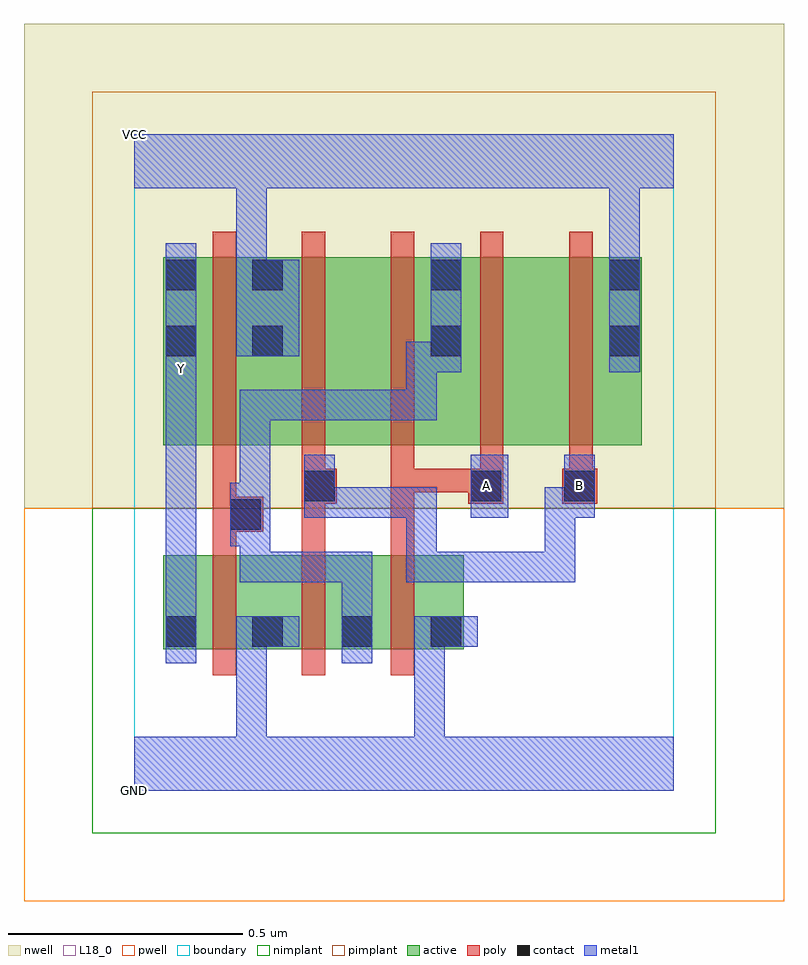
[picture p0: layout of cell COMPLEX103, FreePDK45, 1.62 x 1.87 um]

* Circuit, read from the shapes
.subckt COMPLEX103 A B GND VCC Y
M1 GND n1 Y VSUBS nfet w=0.2u l=0.05u
M2 n1 B GND VSUBS nfet w=0.2u l=0.05u
M3 GND A n1 VSUBS nfet w=0.2u l=0.05u
M4 VCC n1 Y n2 pfet w=0.4u l=0.05u
M5 n3 B VCC n2 pfet w=0.4u l=0.05u
M6 n1 A n3 n2 pfet w=0.4u l=0.05u
M7 n4 A n1 n2 pfet w=0.4u l=0.05u
M8 VCC B n4 n2 pfet w=0.4u l=0.05u
.ends

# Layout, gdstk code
import gdstk
lib = gdstk.Library(unit=1e-6, precision=1e-09)
def R(c, l, rs):  # rectangles x0, y0, x1, y1
    for r in rs: c.add(gdstk.rectangle(r[:2], r[2:], *l))
def A(c, l, x, y, w, h, nx, ny, dx, dy):  # array of equal rectangles
    R(c, l, [(x+i*dx, y+j*dy, x+i*dx+w, y+j*dy+h) for i in range(nx) for j in range(ny)])
active = (1, 0)
pwell = (2, 0)
nwell = (3, 0)
nimplant = (4, 0)
pimplant = (5, 0)
poly = (9, 0)
contact = (10, 0)
metal1 = (11, 0)
L18_0 = (18, 0)
boundary = (235, 0)

complex103 = lib.new_cell('COMPLEX103')
A(complex103, active, 0.247, 0.302, 0.075, 0.2, 3, 1, 0.19, 0)
R(complex103, active, [(0.062,0.302,0.137,0.502), (0.062,0.302,0.322,0.502), (0.247,0.302,0.512,0.502), (0.437,0.302,0.702,0.502), (0.062,0.737,0.137,1.137), (0.062,0.737,0.322,1.137), (0.247,0.737,0.477,1.137), (0.477,0.737,0.702,1.137), (0.627,0.737,0.857,1.137), (0.857,0.737,1.082,1.137), (1.007,0.737,1.082,1.137), (0.247,0.907,0.322,1.137), (0.627,0.907,0.702,1.137)])
R(complex103, pwell, [(-0.235,-0.235,1.385,0.602)])
R(complex103, nwell, [(-0.235,0.602,1.385,1.635)])
R(complex103, nimplant, [(-0.09,-0.09,1.24,0.602)])
R(complex103, pimplant, [(-0.09,0.602,1.24,1.49)])
A(complex103, poly, 0.167, 0.247, 0.05, 0.31, 3, 1, 0.19, 0)
A(complex103, poly, 0.357, 0.637, 0.05, 0.095, 4, 1, 0.19, 0)
A(complex103, poly, 0.167, 0.682, 0.05, 0.51, 5, 1, 0.19, 0)
R(complex103, poly, [(0.167,0.507,0.217,0.602), (0.357,0.507,0.407,0.662), (0.547,0.507,0.597,0.687), (0.167,0.552,0.275,0.627), (0.167,0.577,0.217,0.732), (0.357,0.612,0.432,0.687), (0.712,0.612,0.787,0.687), (0.912,0.612,0.987,0.687), (0.547,0.637,0.597,0.687), (0.547,0.637,0.762,0.687), (0.712,0.637,0.762,0.687), (0.712,0.637,0.762,0.687)])
A(complex103, contact, 0.252, 0.307, 0.065, 0.065, 3, 1, 0.19, 0)
A(complex103, contact, 0.252, 0.927, 0.065, 0.065, 3, 2, 0.38, 0.14)
R(complex103, contact, [(0.067,0.307,0.132,0.372), (0.205,0.557,0.27,0.622), (0.362,0.617,0.427,0.682), (0.717,0.617,0.782,0.682), (0.917,0.617,0.982,0.682), (0.067,0.927,0.132,0.992), (0.067,1.067,0.132,1.132)])
R(complex103, metal1, [(0,0,1.15,0.115), (0.217,0.05,0.282,0.115), (0.217,0.05,0.282,0.115), (0.217,0.05,0.282,0.115), (0.217,0.05,0.282,0.115), (0.217,0.05,0.282,0.372), (0.597,0.05,0.662,0.372), (0.067,0.272,0.132,0.407), (0.442,0.272,0.507,0.407), (0.217,0.307,0.352,0.372), (0.597,0.307,0.662,0.372), (0.597,0.307,0.662,0.372), (0.597,0.307,0.662,0.372), (0.597,0.307,0.662,0.372), (0.597,0.307,0.732,0.372), (0.067,0.342,0.132,0.897), (0.442,0.342,0.507,0.407), (0.442,0.342,0.507,0.51), (0.225,0.445,0.29,0.51), (0.225,0.445,0.507,0.51), (0.225,0.445,0.29,0.587), (0.58,0.445,0.645,0.51), (0.58,0.445,0.645,0.647), (0.58,0.445,0.8,0.51), (0.735,0.445,0.8,0.51), (0.735,0.445,0.94,0.51), (0.875,0.445,0.94,0.51), (0.875,0.445,0.94,0.647), (0.205,0.522,0.27,0.657), (0.205,0.522,0.29,0.587), (0.225,0.522,0.29,0.587), (0.225,0.522,0.29,0.855), (0.362,0.582,0.427,0.647), (0.362,0.582,0.427,0.647), (0.362,0.582,0.427,0.717), (0.362,0.582,0.645,0.647), (0.58,0.582,0.645,0.647), (0.58,0.582,0.645,0.647), (0.58,0.582,0.645,0.647), (0.717,0.582,0.797,0.717), (0.875,0.582,0.94,0.647), (0.875,0.582,0.982,0.647), (0.917,0.582,0.982,0.717), (0.225,0.79,0.29,0.855), (0.225,0.79,0.507,0.855), (0.442,0.79,0.507,0.855), (0.442,0.79,0.507,0.855), (0.442,0.79,0.507,0.855), (0.442,0.79,0.645,0.855), (0.58,0.79,0.645,0.957), (0.067,0.832,0.132,0.967), (0.067,0.892,0.132,1.167), (0.58,0.892,0.697,0.957), (0.632,0.892,0.697,1.167), (1.012,0.892,1.077,1.167), (0.067,0.902,0.132,0.967), (0.217,0.927,0.352,1.132), (0.217,1.067,0.282,1.132), (0.217,1.067,0.282,1.132), (0.217,1.067,0.282,1.35), (1.012,1.102,1.077,1.35), (0,1.285,1.15,1.4), (1.012,1.285,1.077,1.35), (1.012,1.285,1.077,1.35)])
R(complex103, L18_0, [(0,0,1.15,0.115), (0.217,0.05,0.282,0.115), (0.217,0.05,0.282,0.115), (0.217,0.05,0.282,0.115), (0.217,0.05,0.282,0.115), (0.217,0.05,0.282,0.372), (0.597,0.05,0.662,0.372), (0.067,0.272,0.132,0.407), (0.217,0.307,0.352,0.372), (0.597,0.307,0.662,0.372), (0.597,0.307,0.662,0.372), (0.597,0.307,0.662,0.372), (0.597,0.307,0.662,0.372), (0.597,0.307,0.732,0.372), (0.067,0.342,0.132,0.897), (0.58,0.445,0.645,0.51), (0.58,0.445,0.645,0.647), (0.58,0.445,0.8,0.51), (0.735,0.445,0.8,0.51), (0.735,0.445,0.94,0.51), (0.875,0.445,0.94,0.51), (0.875,0.445,0.94,0.647), (0.362,0.582,0.427,0.717), (0.362,0.582,0.427,0.647), (0.362,0.582,0.427,0.647), (0.362,0.582,0.645,0.647), (0.58,0.582,0.645,0.647), (0.58,0.582,0.645,0.647), (0.58,0.582,0.645,0.647), (0.717,0.582,0.797,0.717), (0.875,0.582,0.94,0.647), (0.875,0.582,0.982,0.647), (0.917,0.582,0.982,0.717), (0.717,0.617,0.782,0.682), (0.917,0.617,0.982,0.682), (0.067,0.832,0.132,0.967), (0.067,0.867,0.132,0.932), (0.067,0.892,0.132,1.167), (1.012,0.892,1.077,1.167), (0.067,0.902,0.132,0.967), (0.217,0.927,0.352,1.132), (0.217,1.067,0.282,1.132), (0.217,1.067,0.282,1.132), (0.217,1.067,0.282,1.35), (1.012,1.102,1.077,1.35), (0,1.285,1.15,1.4), (1.012,1.285,1.077,1.35), (1.012,1.285,1.077,1.35)])
R(complex103, boundary, [(0,0,1.15,1.4)])
complex103.add(gdstk.Label('A', (0.75,0.65), layer=11, texttype=0))
complex103.add(gdstk.Label('B', (0.95,0.65), layer=11, texttype=0))
complex103.add(gdstk.Label('Y', (0.1,0.9), layer=11, texttype=0))
complex103.add(gdstk.Label('VCC', (0,1.4), layer=11, texttype=0))
complex103.add(gdstk.Label('GND', (0,0), layer=11, texttype=0))

lib.write_gds('COMPLEX103.gds')
